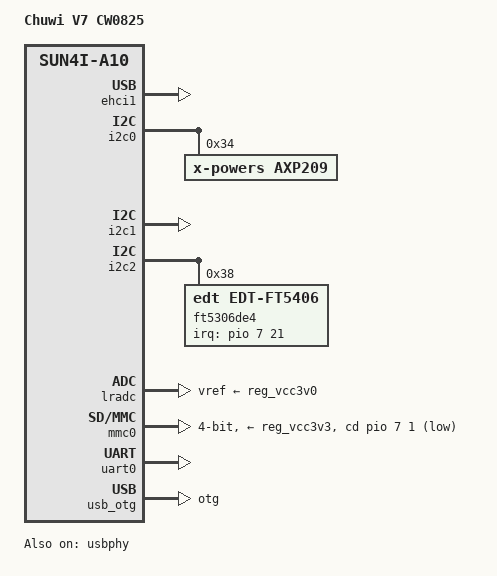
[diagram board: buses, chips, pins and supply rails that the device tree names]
/*
 * Copyright 2015 Hans de Goede <hdegoede@redhat.com>
 *
 * This file is dual-licensed: you can use it either under the terms
 * of the GPL or the X11 license, at your option. Note that this dual
 * licensing only applies to this file, and not this project as a
 * whole.
 *
 *  a) This file is free software; you can redistribute it and/or
 *     modify it under the terms of the GNU General Public License as
 *     published by the Free Software Foundation; either version 2 of the
 *     License, or (at your option) any later version.
 *
 *     This file is distributed in the hope that it will be useful,
 *     but WITHOUT ANY WARRANTY; without even the implied warranty of
 *     MERCHANTABILITY or FITNESS FOR A PARTICULAR PURPOSE.  See the
 *     GNU General Public License for more details.
 *
 * Or, alternatively,
 *
 *  b) Permission is hereby granted, free of charge, to any person
 *     obtaining a copy of this software and associated documentation
 *     files (the "Software"), to deal in the Software without
 *     restriction, including without limitation the rights to use,
 *     copy, modify, merge, publish, distribute, sublicense, and/or
 *     sell copies of the Software, and to permit persons to whom the
 *     Software is furnished to do so, subject to the following
 *     conditions:
 *
 *     The above copyright notice and this permission notice shall be
 *     included in all copies or substantial portions of the Software.
 *
 *     THE SOFTWARE IS PROVIDED "AS IS", WITHOUT WARRANTY OF ANY KIND,
 *     EXPRESS OR IMPLIED, INCLUDING BUT NOT LIMITED TO THE WARRANTIES
 *     OF MERCHANTABILITY, FITNESS FOR A PARTICULAR PURPOSE AND
 *     NONINFRINGEMENT. IN NO EVENT SHALL THE AUTHORS OR COPYRIGHT
 *     HOLDERS BE LIABLE FOR ANY CLAIM, DAMAGES OR OTHER LIABILITY,
 *     WHETHER IN AN ACTION OF CONTRACT, TORT OR OTHERWISE, ARISING
 *     FROM, OUT OF OR IN CONNECTION WITH THE SOFTWARE OR THE USE OR
 *     OTHER DEALINGS IN THE SOFTWARE.
 */

/dts-v1/;
#include "sun4i-a10.dtsi"
#include "sunxi-common-regulators.dtsi"
#include <dt-bindings/gpio/gpio.h>
#include <dt-bindings/input/input.h>
#include <dt-bindings/interrupt-controller/irq.h>

/ {
	model = "Chuwi V7 CW0825";
	compatible = "chuwi,v7-cw0825", "allwinner,sun4i-a10";

	aliases {
		serial0 = &uart0;
	};

	chosen {
		stdout-path = "serial0:115200n8";
	};
};

&ehci1 {
	status = "okay";
};

&i2c0 {
	status = "okay";

	axp209: pmic@34 {
		compatible = "x-powers,axp209";
		reg = <0x34>;
		interrupts = <0>;

		interrupt-controller;
		#interrupt-cells = <1>;
	};
};

&i2c1 {
	status = "okay";
};

&i2c2 {
	status = "okay";

	ft5306de4: touchscreen@38 {
		compatible = "edt,edt-ft5406";
		reg = <0x38>;
		interrupt-parent = <&pio>;
		interrupts = <7 21 IRQ_TYPE_EDGE_FALLING>;
		touchscreen-size-x = <1024>;
		touchscreen-size-y = <768>;
	};
};

&lradc {
	vref-supply = <&reg_vcc3v0>;
	status = "okay";

	button-800 {
		label = "Volume Up";
		linux,code = <KEY_VOLUMEUP>;
		channel = <0>;
		voltage = <800000>;
	};

	button-1000 {
		label = "Volume Down";
		linux,code = <KEY_VOLUMEDOWN>;
		channel = <0>;
		voltage = <1000000>;
	};

	button-1200 {
		label = "Back";
		linux,code = <KEY_BACK>;
		channel = <0>;
		voltage = <1200000>;
	};
};

&mmc0 {
	vmmc-supply = <&reg_vcc3v3>;
	bus-width = <4>;
	cd-gpios = <&pio 7 1 GPIO_ACTIVE_HIGH>; /* PH1 */
	cd-inverted;
	status = "okay";
};

&otg_sram {
	status = "okay";
};

&pio {
	usb0_id_detect_pin: usb0-id-detect-pin {
		pins = "PH4";
		function = "gpio_in";
		bias-pull-up;
	};

	usb0_vbus_detect_pin: usb0-vbus-detect-pin {
		pins = "PH5";
		function = "gpio_in";
		bias-pull-down;
	};
};

&reg_usb0_vbus {
	status = "okay";
};

&reg_usb2_vbus {
	status = "okay";
};

&uart0 {
	pinctrl-names = "default";
	pinctrl-0 = <&uart0_pb_pins>;
	status = "okay";
};

&usb_otg {
	dr_mode = "otg";
	status = "okay";
};

&usbphy {
	pinctrl-names = "default";
	pinctrl-0 = <&usb0_id_detect_pin>, <&usb0_vbus_detect_pin>;
	usb0_id_det-gpio = <&pio 7 4 GPIO_ACTIVE_HIGH>; /* PH4 */
	usb0_vbus_det-gpio = <&pio 7 5 GPIO_ACTIVE_HIGH>; /* PH5 */
	usb0_vbus-supply = <&reg_usb0_vbus>;
	usb2_vbus-supply = <&reg_usb2_vbus>;
	status = "okay";
};
